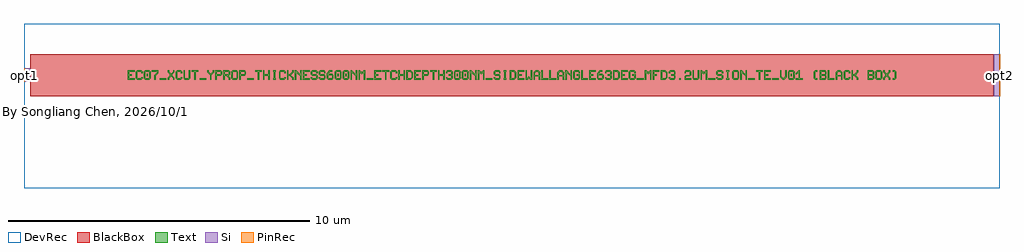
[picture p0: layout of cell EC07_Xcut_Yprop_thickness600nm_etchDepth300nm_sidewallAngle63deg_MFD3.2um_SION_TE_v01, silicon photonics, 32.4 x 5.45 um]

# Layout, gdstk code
import gdstk
lib = gdstk.Library(unit=1e-6, precision=1e-10)
def R(c, l, rs):  # rectangles x0, y0, x1, y1
    for r in rs: c.add(gdstk.rectangle(r[:2], r[2:], *l))
def A(c, l, x, y, w, h, nx, ny, dx, dy):  # array of equal rectangles
    R(c, l, [(x+i*dx, y+j*dy, x+i*dx+w, y+j*dy+h) for i in range(nx) for j in range(ny)])
def P(c, l, *ps):  # polygons
    for p in ps: c.add(gdstk.Polygon(p, *l))
Si = (1, 0)
PinRec = (1, 10)
Text = (10, 0)
DevRec = (68, 0)
BlackBox = (998, 0)

text = lib.new_cell('TEXT')
A(text, Text, 3.96, 0, 0.22, 0.044, 3, 1, 3.96, 0)
R(text, Text, [(1.056,0,1.276,0.044), (2.376,0,2.596,0.044), (16.896,0,17.116,0.044), (18.304,0,18.348,0.044), (19.272,0,19.492,0.044), (20.592,0,20.812,0.044), (21.384,0,21.604,0.044), (0.616,0.11,0.66,0.198), (6.952,0.11,6.996,0.198), (7.216,0.11,7.26,0.198), (10.912,0.11,10.956,0.198), (11.176,0.11,11.22,0.198), (22,0.11,22.044,0.198)])
P(text, Text, [(12.672,0),(12.672,0.308),(12.826,0.308),(12.87,0.264),(12.716,0.264),(12.716,0.044),(12.804,0.044),(12.848,0.088),(12.848,0.22),(12.804,0.264),(12.87,0.264),(12.892,0.242),(12.892,0.066),(12.826,0)],
  [(12.936,0),(12.936,0.308),(13.156,0.308),(13.156,0.264),(12.98,0.264),(12.98,0.176),(13.068,0.176),(13.068,0.132),(12.98,0.132),(12.98,0.044),(13.156,0.044),(13.156,0)],
  [(13.2,0),(13.2,0.308),(13.244,0.308),(13.244,0.066),(13.266,0.066),(13.31,0.11),(13.354,0.066),(13.376,0.066),(13.376,0.308),(13.42,0.308),(13.42,0),(13.354,0),(13.31,0.044),(13.266,0)],
  [(13.464,0),(13.464,0.242),(13.53,0.308),(13.618,0.308),(13.662,0.264),(13.552,0.264),(13.508,0.22),(13.508,0.154),(13.64,0.154),(13.64,0.22),(13.596,0.264),(13.662,0.264),(13.684,0.242),(13.684,0),(13.64,0),(13.64,0.11),(13.508,0.11),(13.508,0)],
  [(13.728,0),(13.728,0.308),(13.772,0.308),(13.772,0.044),(13.948,0.044),(13.948,0)],
  [(13.992,0),(13.992,0.308),(14.036,0.308),(14.036,0.044),(14.212,0.044),(14.212,0)],
  [(14.256,0),(14.256,0.242),(14.322,0.308),(14.41,0.308),(14.454,0.264),(14.344,0.264),(14.3,0.22),(14.3,0.154),(14.432,0.154),(14.432,0.22),(14.388,0.264),(14.454,0.264),(14.476,0.242),(14.476,0),(14.432,0),(14.432,0.11),(14.3,0.11),(14.3,0)],
  [(14.52,0),(14.52,0.308),(14.564,0.308),(14.674,0.198),(14.696,0.198),(14.696,0.308),(14.74,0.308),(14.74,0),(14.696,0),(14.696,0.11),(14.586,0.22),(14.564,0.22),(14.564,0)],
  [(14.828,0),(14.784,0.044),(14.784,0.264),(14.828,0.308),(14.96,0.308),(15.004,0.264),(15.004,0.22),(14.96,0.22),(14.96,0.242),(14.938,0.264),(14.85,0.264),(14.828,0.242),(14.828,0.066),(14.85,0.044),(14.938,0.044),(14.96,0.066),(14.96,0.132),(14.894,0.132),(14.894,0.176),(15.004,0.176),(15.004,0.044),(14.96,0)],
  [(15.048,0),(15.048,0.308),(15.092,0.308),(15.092,0.044),(15.268,0.044),(15.268,0)],
  [(15.312,0),(15.312,0.308),(15.532,0.308),(15.532,0.264),(15.356,0.264),(15.356,0.176),(15.444,0.176),(15.444,0.132),(15.356,0.132),(15.356,0.044),(15.532,0.044),(15.532,0)],
  [(15.62,0),(15.576,0.044),(15.576,0.22),(15.664,0.308),(15.752,0.308),(15.752,0.264),(15.686,0.264),(15.642,0.22),(15.642,0.198),(15.752,0.198),(15.796,0.154),(15.642,0.154),(15.62,0.132),(15.62,0.066),(15.642,0.044),(15.73,0.044),(15.752,0.066),(15.752,0.132),(15.73,0.154),(15.796,0.154),(15.796,0.044),(15.752,0)],
  [(15.884,0),(15.84,0.044),(15.84,0.088),(15.884,0.088),(15.884,0.066),(15.906,0.044),(15.994,0.044),(16.016,0.066),(16.016,0.11),(15.994,0.132),(15.928,0.132),(15.928,0.176),(15.994,0.176),(16.016,0.198),(16.016,0.242),(15.994,0.264),(15.906,0.264),(15.884,0.242),(15.884,0.22),(15.84,0.22),(15.84,0.264),(15.884,0.308),(16.016,0.308),(16.06,0.264),(16.06,0.176),(16.038,0.154),(16.06,0.132),(16.06,0.044),(16.016,0)],
  [(16.104,0),(16.104,0.308),(16.258,0.308),(16.302,0.264),(16.148,0.264),(16.148,0.044),(16.236,0.044),(16.28,0.088),(16.28,0.22),(16.236,0.264),(16.302,0.264),(16.324,0.242),(16.324,0.066),(16.258,0)],
  [(16.368,0),(16.368,0.308),(16.588,0.308),(16.588,0.264),(16.412,0.264),(16.412,0.176),(16.5,0.176),(16.5,0.132),(16.412,0.132),(16.412,0.044),(16.588,0.044),(16.588,0)],
  [(16.676,0),(16.632,0.044),(16.632,0.264),(16.676,0.308),(16.808,0.308),(16.852,0.264),(16.852,0.22),(16.808,0.22),(16.808,0.242),(16.786,0.264),(16.698,0.264),(16.676,0.242),(16.676,0.066),(16.698,0.044),(16.786,0.044),(16.808,0.066),(16.808,0.132),(16.742,0.132),(16.742,0.176),(16.852,0.176),(16.852,0.044),(16.808,0)],
  [(17.16,0),(17.16,0.308),(17.204,0.308),(17.248,0.264),(17.292,0.264),(17.336,0.308),(17.38,0.308),(17.38,0),(17.336,0),(17.336,0.22),(17.314,0.22),(17.27,0.176),(17.226,0.22),(17.204,0.22),(17.204,0)],
  [(17.424,0),(17.424,0.308),(17.644,0.308),(17.644,0.264),(17.468,0.264),(17.468,0.176),(17.556,0.176),(17.556,0.132),(17.468,0.132),(17.468,0)],
  [(17.688,0),(17.688,0.308),(17.842,0.308),(17.886,0.264),(17.732,0.264),(17.732,0.044),(17.82,0.044),(17.864,0.088),(17.864,0.22),(17.82,0.264),(17.886,0.264),(17.908,0.242),(17.908,0.066),(17.842,0)],
  [(17.996,0),(17.952,0.044),(17.952,0.088),(17.996,0.088),(17.996,0.066),(18.018,0.044),(18.106,0.044),(18.128,0.066),(18.128,0.11),(18.106,0.132),(18.04,0.132),(18.04,0.176),(18.106,0.176),(18.128,0.198),(18.128,0.242),(18.106,0.264),(18.018,0.264),(17.996,0.242),(17.996,0.22),(17.952,0.22),(17.952,0.264),(17.996,0.308),(18.128,0.308),(18.172,0.264),(18.172,0.176),(18.15,0.154),(18.172,0.132),(18.172,0.044),(18.128,0)],
  [(18.48,0),(18.48,0.11),(18.524,0.154),(18.634,0.154),(18.656,0.176),(18.656,0.242),(18.634,0.264),(18.546,0.264),(18.524,0.242),(18.524,0.22),(18.48,0.22),(18.48,0.264),(18.524,0.308),(18.656,0.308),(18.7,0.264),(18.7,0.154),(18.656,0.11),(18.546,0.11),(18.524,0.088),(18.524,0.044),(18.7,0.044),(18.7,0)],
  [(18.788,0),(18.744,0.044),(18.744,0.308),(18.788,0.308),(18.788,0.066),(18.81,0.044),(18.898,0.044),(18.92,0.066),(18.92,0.308),(18.964,0.308),(18.964,0.044),(18.92,0)],
  [(19.008,0),(19.008,0.308),(19.052,0.308),(19.096,0.264),(19.14,0.264),(19.184,0.308),(19.228,0.308),(19.228,0),(19.184,0),(19.184,0.22),(19.162,0.22),(19.118,0.176),(19.074,0.22),(19.052,0.22),(19.052,0)],
  [(19.58,0),(19.536,0.044),(19.536,0.088),(19.58,0.088),(19.58,0.066),(19.602,0.044),(19.69,0.044),(19.712,0.066),(19.712,0.11),(19.69,0.132),(19.58,0.132),(19.536,0.176),(19.536,0.264),(19.58,0.308),(19.712,0.308),(19.756,0.264),(19.756,0.22),(19.712,0.22),(19.712,0.242),(19.69,0.264),(19.602,0.264),(19.58,0.242),(19.58,0.198),(19.602,0.176),(19.712,0.176),(19.756,0.132),(19.756,0.044),(19.712,0)],
  [(19.866,0),(19.866,0.044),(19.888,0.044),(19.888,0.264),(19.866,0.264),(19.866,0.308),(19.954,0.308),(19.954,0.264),(19.932,0.264),(19.932,0.044),(19.954,0.044),(19.954,0)],
  [(20.108,0),(20.064,0.044),(20.064,0.264),(20.108,0.308),(20.24,0.308),(20.284,0.264),(20.284,0.154),(20.24,0.154),(20.24,0.242),(20.218,0.264),(20.13,0.264),(20.108,0.242),(20.108,0.066),(20.13,0.044),(20.218,0.044),(20.24,0.066),(20.24,0.154),(20.284,0.154),(20.284,0.044),(20.24,0)],
  [(20.328,0),(20.328,0.308),(20.372,0.308),(20.482,0.198),(20.504,0.198),(20.504,0.308),(20.548,0.308),(20.548,0),(20.504,0),(20.504,0.11),(20.394,0.22),(20.372,0.22),(20.372,0)],
  [(20.944,0),(20.944,0.264),(20.856,0.264),(20.856,0.308),(21.076,0.308),(21.076,0.264),(20.988,0.264),(20.988,0)],
  [(21.12,0),(21.12,0.308),(21.34,0.308),(21.34,0.264),(21.164,0.264),(21.164,0.176),(21.252,0.176),(21.252,0.132),(21.164,0.132),(21.164,0.044),(21.34,0.044),(21.34,0)],
  [(21.736,0),(21.648,0.088),(21.648,0.308),(21.692,0.308),(21.692,0.11),(21.758,0.044),(21.824,0.11),(21.824,0.308),(21.868,0.308),(21.868,0.088),(21.78,0)],
  [(21.956,0),(21.912,0.044),(21.912,0.264),(21.956,0.308),(22.088,0.308),(22.132,0.264),(21.978,0.264),(21.956,0.242),(21.956,0.066),(21.978,0.044),(22.066,0.044),(22.088,0.066),(22.088,0.242),(22.066,0.264),(22.132,0.264),(22.132,0.044),(22.088,0)],
  [(22.176,0),(22.176,0.044),(22.264,0.044),(22.264,0.22),(22.242,0.22),(22.198,0.176),(22.176,0.176),(22.176,0.22),(22.264,0.308),(22.308,0.308),(22.308,0.044),(22.396,0.044),(22.396,0)],
  [(22.814,0),(22.77,0.044),(22.77,0.264),(22.814,0.308),(22.88,0.308),(22.88,0.264),(22.836,0.264),(22.814,0.242),(22.814,0.066),(22.836,0.044),(22.88,0.044),(22.88,0)],
  [(22.968,0),(22.968,0.308),(23.144,0.308),(23.188,0.264),(23.012,0.264),(23.012,0.176),(23.122,0.176),(23.144,0.198),(23.144,0.242),(23.122,0.264),(23.188,0.264),(23.188,0.176),(23.166,0.154),(23.188,0.132),(23.012,0.132),(23.012,0.044),(23.122,0.044),(23.144,0.066),(23.144,0.11),(23.122,0.132),(23.188,0.132),(23.188,0.044),(23.144,0)],
  [(23.232,0),(23.232,0.308),(23.276,0.308),(23.276,0.044),(23.452,0.044),(23.452,0)],
  [(23.496,0),(23.496,0.242),(23.562,0.308),(23.65,0.308),(23.694,0.264),(23.584,0.264),(23.54,0.22),(23.54,0.154),(23.672,0.154),(23.672,0.22),(23.628,0.264),(23.694,0.264),(23.716,0.242),(23.716,0),(23.672,0),(23.672,0.11),(23.54,0.11),(23.54,0)],
  [(23.804,0),(23.76,0.044),(23.76,0.264),(23.804,0.308),(23.936,0.308),(23.98,0.264),(23.98,0.22),(23.936,0.22),(23.936,0.242),(23.914,0.264),(23.826,0.264),(23.804,0.242),(23.804,0.066),(23.826,0.044),(23.914,0.044),(23.936,0.066),(23.936,0.088),(23.98,0.088),(23.98,0.044),(23.936,0)],
  [(24.024,0),(24.024,0.308),(24.068,0.308),(24.068,0.176),(24.112,0.176),(24.2,0.264),(24.2,0.308),(24.244,0.308),(24.244,0.242),(24.156,0.154),(24.244,0.066),(24.244,0),(24.2,0),(24.2,0.044),(24.112,0.132),(24.068,0.132),(24.068,0)],
  [(24.552,0),(24.552,0.308),(24.728,0.308),(24.772,0.264),(24.596,0.264),(24.596,0.176),(24.706,0.176),(24.728,0.198),(24.728,0.242),(24.706,0.264),(24.772,0.264),(24.772,0.176),(24.75,0.154),(24.772,0.132),(24.596,0.132),(24.596,0.044),(24.706,0.044),(24.728,0.066),(24.728,0.11),(24.706,0.132),(24.772,0.132),(24.772,0.044),(24.728,0)],
  [(24.86,0),(24.816,0.044),(24.816,0.264),(24.86,0.308),(24.992,0.308),(25.036,0.264),(25.036,0.154),(24.992,0.154),(24.992,0.242),(24.97,0.264),(24.882,0.264),(24.86,0.242),(24.86,0.066),(24.882,0.044),(24.97,0.044),(24.992,0.066),(24.992,0.154),(25.036,0.154),(25.036,0.044),(24.992,0)],
  [(25.08,0),(25.08,0.066),(25.146,0.132),(25.146,0.176),(25.08,0.242),(25.08,0.308),(25.124,0.308),(25.124,0.264),(25.19,0.198),(25.256,0.264),(25.256,0.308),(25.3,0.308),(25.3,0.242),(25.234,0.176),(25.234,0.132),(25.3,0.066),(25.3,0),(25.256,0),(25.256,0.044),(25.19,0.11),(25.124,0.044),(25.124,0)],
  [(25.388,0),(25.388,0.044),(25.432,0.044),(25.454,0.066),(25.454,0.242),(25.432,0.264),(25.388,0.264),(25.388,0.308),(25.454,0.308),(25.498,0.264),(25.498,0.044),(25.454,0)],
  [(11.352,0),(11.352,0.308),(11.396,0.308),(11.506,0.198),(11.528,0.198),(11.528,0.308),(11.572,0.308),(11.572,0),(11.528,0),(11.528,0.11),(11.418,0.22),(11.396,0.22),(11.396,0)],
  [(11.616,0),(11.616,0.308),(11.66,0.308),(11.704,0.264),(11.748,0.264),(11.792,0.308),(11.836,0.308),(11.836,0),(11.792,0),(11.792,0.22),(11.77,0.22),(11.726,0.176),(11.682,0.22),(11.66,0.22),(11.66,0)],
  [(12.188,0),(12.144,0.044),(12.144,0.088),(12.188,0.088),(12.188,0.066),(12.21,0.044),(12.298,0.044),(12.32,0.066),(12.32,0.11),(12.298,0.132),(12.188,0.132),(12.144,0.176),(12.144,0.264),(12.188,0.308),(12.32,0.308),(12.364,0.264),(12.364,0.22),(12.32,0.22),(12.32,0.242),(12.298,0.264),(12.21,0.264),(12.188,0.242),(12.188,0.198),(12.21,0.176),(12.32,0.176),(12.364,0.132),(12.364,0.044),(12.32,0)],
  [(12.474,0),(12.474,0.044),(12.496,0.044),(12.496,0.264),(12.474,0.264),(12.474,0.308),(12.562,0.308),(12.562,0.264),(12.54,0.264),(12.54,0.044),(12.562,0.044),(12.562,0)],
  [(0,0),(0,0.308),(0.22,0.308),(0.22,0.264),(0.044,0.264),(0.044,0.176),(0.132,0.176),(0.132,0.132),(0.044,0.132),(0.044,0.044),(0.22,0.044),(0.22,0)],
  [(0.308,0),(0.264,0.044),(0.264,0.264),(0.308,0.308),(0.44,0.308),(0.484,0.264),(0.484,0.22),(0.44,0.22),(0.44,0.242),(0.418,0.264),(0.33,0.264),(0.308,0.242),(0.308,0.066),(0.33,0.044),(0.418,0.044),(0.44,0.066),(0.44,0.088),(0.484,0.088),(0.484,0.044),(0.44,0)],
  [(0.572,0),(0.528,0.044),(0.528,0.264),(0.572,0.308),(0.704,0.308),(0.748,0.264),(0.594,0.264),(0.572,0.242),(0.572,0.066),(0.594,0.044),(0.682,0.044),(0.704,0.066),(0.704,0.242),(0.682,0.264),(0.748,0.264),(0.748,0.044),(0.704,0)],
  [(0.88,0),(0.88,0.154),(0.968,0.242),(0.968,0.264),(0.792,0.264),(0.792,0.308),(1.012,0.308),(1.012,0.22),(0.924,0.132),(0.924,0)],
  [(1.32,0),(1.32,0.066),(1.386,0.132),(1.386,0.176),(1.32,0.242),(1.32,0.308),(1.364,0.308),(1.364,0.264),(1.43,0.198),(1.496,0.264),(1.496,0.308),(1.54,0.308),(1.54,0.242),(1.474,0.176),(1.474,0.132),(1.54,0.066),(1.54,0),(1.496,0),(1.496,0.044),(1.43,0.11),(1.364,0.044),(1.364,0)],
  [(1.628,0),(1.584,0.044),(1.584,0.264),(1.628,0.308),(1.76,0.308),(1.804,0.264),(1.804,0.22),(1.76,0.22),(1.76,0.242),(1.738,0.264),(1.65,0.264),(1.628,0.242),(1.628,0.066),(1.65,0.044),(1.738,0.044),(1.76,0.066),(1.76,0.088),(1.804,0.088),(1.804,0.044),(1.76,0)],
  [(1.892,0),(1.848,0.044),(1.848,0.308),(1.892,0.308),(1.892,0.066),(1.914,0.044),(2.002,0.044),(2.024,0.066),(2.024,0.308),(2.068,0.308),(2.068,0.044),(2.024,0)],
  [(2.2,0),(2.2,0.264),(2.112,0.264),(2.112,0.308),(2.332,0.308),(2.332,0.264),(2.244,0.264),(2.244,0)],
  [(2.728,0),(2.728,0.154),(2.64,0.242),(2.64,0.308),(2.684,0.308),(2.684,0.264),(2.75,0.198),(2.816,0.264),(2.816,0.308),(2.86,0.308),(2.86,0.242),(2.772,0.154),(2.772,0)],
  [(2.904,0),(2.904,0.308),(3.08,0.308),(3.124,0.264),(3.124,0.176),(3.08,0.132),(2.948,0.132),(2.948,0.176),(3.058,0.176),(3.08,0.198),(3.08,0.242),(3.058,0.264),(2.948,0.264),(2.948,0)],
  [(3.168,0),(3.168,0.308),(3.344,0.308),(3.388,0.264),(3.212,0.264),(3.212,0.176),(3.322,0.176),(3.344,0.198),(3.344,0.242),(3.322,0.264),(3.388,0.264),(3.388,0.176),(3.344,0.132),(3.344,0.11),(3.388,0.066),(3.388,0),(3.344,0),(3.344,0.044),(3.256,0.132),(3.212,0.132),(3.212,0)],
  [(3.476,0),(3.432,0.044),(3.432,0.264),(3.476,0.308),(3.608,0.308),(3.652,0.264),(3.652,0.154),(3.608,0.154),(3.608,0.242),(3.586,0.264),(3.498,0.264),(3.476,0.242),(3.476,0.066),(3.498,0.044),(3.586,0.044),(3.608,0.066),(3.608,0.154),(3.652,0.154),(3.652,0.044),(3.608,0)],
  [(3.696,0),(3.696,0.308),(3.872,0.308),(3.916,0.264),(3.916,0.176),(3.872,0.132),(3.74,0.132),(3.74,0.176),(3.85,0.176),(3.872,0.198),(3.872,0.242),(3.85,0.264),(3.74,0.264),(3.74,0)],
  [(4.312,0),(4.312,0.264),(4.224,0.264),(4.224,0.308),(4.444,0.308),(4.444,0.264),(4.356,0.264),(4.356,0)],
  [(4.488,0),(4.488,0.308),(4.532,0.308),(4.532,0.176),(4.664,0.176),(4.664,0.308),(4.708,0.308),(4.708,0),(4.664,0),(4.664,0.132),(4.532,0.132),(4.532,0)],
  [(4.818,0),(4.818,0.044),(4.84,0.044),(4.84,0.264),(4.818,0.264),(4.818,0.308),(4.906,0.308),(4.906,0.264),(4.884,0.264),(4.884,0.044),(4.906,0.044),(4.906,0)],
  [(5.06,0),(5.016,0.044),(5.016,0.264),(5.06,0.308),(5.192,0.308),(5.236,0.264),(5.236,0.22),(5.192,0.22),(5.192,0.242),(5.17,0.264),(5.082,0.264),(5.06,0.242),(5.06,0.066),(5.082,0.044),(5.17,0.044),(5.192,0.066),(5.192,0.088),(5.236,0.088),(5.236,0.044),(5.192,0)],
  [(5.28,0),(5.28,0.308),(5.324,0.308),(5.324,0.176),(5.368,0.176),(5.456,0.264),(5.456,0.308),(5.5,0.308),(5.5,0.242),(5.412,0.154),(5.5,0.066),(5.5,0),(5.456,0),(5.456,0.044),(5.368,0.132),(5.324,0.132),(5.324,0)],
  [(5.544,0),(5.544,0.308),(5.588,0.308),(5.698,0.198),(5.72,0.198),(5.72,0.308),(5.764,0.308),(5.764,0),(5.72,0),(5.72,0.11),(5.61,0.22),(5.588,0.22),(5.588,0)],
  [(5.808,0),(5.808,0.308),(6.028,0.308),(6.028,0.264),(5.852,0.264),(5.852,0.176),(5.94,0.176),(5.94,0.132),(5.852,0.132),(5.852,0.044),(6.028,0.044),(6.028,0)],
  [(6.116,0),(6.072,0.044),(6.072,0.088),(6.116,0.088),(6.116,0.066),(6.138,0.044),(6.226,0.044),(6.248,0.066),(6.248,0.11),(6.226,0.132),(6.116,0.132),(6.072,0.176),(6.072,0.264),(6.116,0.308),(6.248,0.308),(6.292,0.264),(6.292,0.22),(6.248,0.22),(6.248,0.242),(6.226,0.264),(6.138,0.264),(6.116,0.242),(6.116,0.198),(6.138,0.176),(6.248,0.176),(6.292,0.132),(6.292,0.044),(6.248,0)],
  [(6.38,0),(6.336,0.044),(6.336,0.088),(6.38,0.088),(6.38,0.066),(6.402,0.044),(6.49,0.044),(6.512,0.066),(6.512,0.11),(6.49,0.132),(6.38,0.132),(6.336,0.176),(6.336,0.264),(6.38,0.308),(6.512,0.308),(6.556,0.264),(6.556,0.22),(6.512,0.22),(6.512,0.242),(6.49,0.264),(6.402,0.264),(6.38,0.242),(6.38,0.198),(6.402,0.176),(6.512,0.176),(6.556,0.132),(6.556,0.044),(6.512,0)],
  [(6.644,0),(6.6,0.044),(6.6,0.22),(6.688,0.308),(6.776,0.308),(6.776,0.264),(6.71,0.264),(6.666,0.22),(6.666,0.198),(6.776,0.198),(6.82,0.154),(6.666,0.154),(6.644,0.132),(6.644,0.066),(6.666,0.044),(6.754,0.044),(6.776,0.066),(6.776,0.132),(6.754,0.154),(6.82,0.154),(6.82,0.044),(6.776,0)],
  [(6.908,0),(6.864,0.044),(6.864,0.264),(6.908,0.308),(7.04,0.308),(7.084,0.264),(6.93,0.264),(6.908,0.242),(6.908,0.066),(6.93,0.044),(7.018,0.044),(7.04,0.066),(7.04,0.242),(7.018,0.264),(7.084,0.264),(7.084,0.044),(7.04,0)],
  [(7.172,0),(7.128,0.044),(7.128,0.264),(7.172,0.308),(7.304,0.308),(7.348,0.264),(7.194,0.264),(7.172,0.242),(7.172,0.066),(7.194,0.044),(7.282,0.044),(7.304,0.066),(7.304,0.242),(7.282,0.264),(7.348,0.264),(7.348,0.044),(7.304,0)],
  [(7.392,0),(7.392,0.308),(7.436,0.308),(7.546,0.198),(7.568,0.198),(7.568,0.308),(7.612,0.308),(7.612,0),(7.568,0),(7.568,0.11),(7.458,0.22),(7.436,0.22),(7.436,0)],
  [(7.656,0),(7.656,0.308),(7.7,0.308),(7.744,0.264),(7.788,0.264),(7.832,0.308),(7.876,0.308),(7.876,0),(7.832,0),(7.832,0.22),(7.81,0.22),(7.766,0.176),(7.722,0.22),(7.7,0.22),(7.7,0)],
  [(8.184,0),(8.184,0.308),(8.404,0.308),(8.404,0.264),(8.228,0.264),(8.228,0.176),(8.316,0.176),(8.316,0.132),(8.228,0.132),(8.228,0.044),(8.404,0.044),(8.404,0)],
  [(8.536,0),(8.536,0.264),(8.448,0.264),(8.448,0.308),(8.668,0.308),(8.668,0.264),(8.58,0.264),(8.58,0)],
  [(8.756,0),(8.712,0.044),(8.712,0.264),(8.756,0.308),(8.888,0.308),(8.932,0.264),(8.932,0.22),(8.888,0.22),(8.888,0.242),(8.866,0.264),(8.778,0.264),(8.756,0.242),(8.756,0.066),(8.778,0.044),(8.866,0.044),(8.888,0.066),(8.888,0.088),(8.932,0.088),(8.932,0.044),(8.888,0)],
  [(8.976,0),(8.976,0.308),(9.02,0.308),(9.02,0.176),(9.152,0.176),(9.152,0.308),(9.196,0.308),(9.196,0),(9.152,0),(9.152,0.132),(9.02,0.132),(9.02,0)],
  [(9.24,0),(9.24,0.308),(9.394,0.308),(9.438,0.264),(9.284,0.264),(9.284,0.044),(9.372,0.044),(9.416,0.088),(9.416,0.22),(9.372,0.264),(9.438,0.264),(9.46,0.242),(9.46,0.066),(9.394,0)],
  [(9.504,0),(9.504,0.308),(9.724,0.308),(9.724,0.264),(9.548,0.264),(9.548,0.176),(9.636,0.176),(9.636,0.132),(9.548,0.132),(9.548,0.044),(9.724,0.044),(9.724,0)],
  [(9.768,0),(9.768,0.308),(9.944,0.308),(9.988,0.264),(9.988,0.176),(9.944,0.132),(9.812,0.132),(9.812,0.176),(9.922,0.176),(9.944,0.198),(9.944,0.242),(9.922,0.264),(9.812,0.264),(9.812,0)],
  [(10.12,0),(10.12,0.264),(10.032,0.264),(10.032,0.308),(10.252,0.308),(10.252,0.264),(10.164,0.264),(10.164,0)],
  [(10.296,0),(10.296,0.308),(10.34,0.308),(10.34,0.176),(10.472,0.176),(10.472,0.308),(10.516,0.308),(10.516,0),(10.472,0),(10.472,0.132),(10.34,0.132),(10.34,0)],
  [(10.604,0),(10.56,0.044),(10.56,0.088),(10.604,0.088),(10.604,0.066),(10.626,0.044),(10.714,0.044),(10.736,0.066),(10.736,0.11),(10.714,0.132),(10.648,0.132),(10.648,0.176),(10.714,0.176),(10.736,0.198),(10.736,0.242),(10.714,0.264),(10.626,0.264),(10.604,0.242),(10.604,0.22),(10.56,0.22),(10.56,0.264),(10.604,0.308),(10.736,0.308),(10.78,0.264),(10.78,0.176),(10.758,0.154),(10.78,0.132),(10.78,0.044),(10.736,0)],
  [(10.868,0),(10.824,0.044),(10.824,0.264),(10.868,0.308),(11,0.308),(11.044,0.264),(10.89,0.264),(10.868,0.242),(10.868,0.066),(10.89,0.044),(10.978,0.044),(11,0.066),(11,0.242),(10.978,0.264),(11.044,0.264),(11.044,0.044),(11,0)],
  [(11.132,0),(11.088,0.044),(11.088,0.264),(11.132,0.308),(11.264,0.308),(11.308,0.264),(11.154,0.264),(11.132,0.242),(11.132,0.066),(11.154,0.044),(11.242,0.044),(11.264,0.066),(11.264,0.242),(11.242,0.264),(11.308,0.264),(11.308,0.044),(11.264,0)])

ec07_xcut_yprop_thicknes = lib.new_cell('EC07_Xcut_Yprop_thickness600nm_etchDepth300nm_sidewallAngle63deg_MFD3.2um_SION_TE_v01')
R(ec07_xcut_yprop_thicknes, Si, [(15.9907,-0.7,16.1907,0.7), (-16.1907,-0.227,-15.9907,0.227)])
R(ec07_xcut_yprop_thicknes, DevRec, [(-16.1907,-3.7502,16.1907,1.7)])
R(ec07_xcut_yprop_thicknes, BlackBox, [(-15.9907,-0.7,15.9907,0.7)])
ec07_xcut_yprop_thicknes.add(gdstk.FlexPath([(-16.1807,0),(-16.2007,0)], 0.454, ends="flush", simple_path=True, layer=1, datatype=10))  # PinRec
ec07_xcut_yprop_thicknes.add(gdstk.FlexPath([(16.1807,0),(16.2007,0)], 1.4, ends="flush", simple_path=True, layer=1, datatype=10))  # PinRec
ec07_xcut_yprop_thicknes.add(gdstk.Reference(text, (-12.749,-0.154)))
ec07_xcut_yprop_thicknes.add(gdstk.Label('opt1', (-16.1907,0), layer=1, texttype=10))
ec07_xcut_yprop_thicknes.add(gdstk.Label('opt2', (16.1907,0), layer=1, texttype=10))
ec07_xcut_yprop_thicknes.add(gdstk.Label('By Songliang Chen, 2026/10/13', (-15.6907,-1.2), layer=10, texttype=0))

lib.write_gds('EC07_Xcut_Yprop_thickness600nm_etchDepth300nm_sidewallAngle63deg_MFD3.2um_SION_TE_v01.gds')
